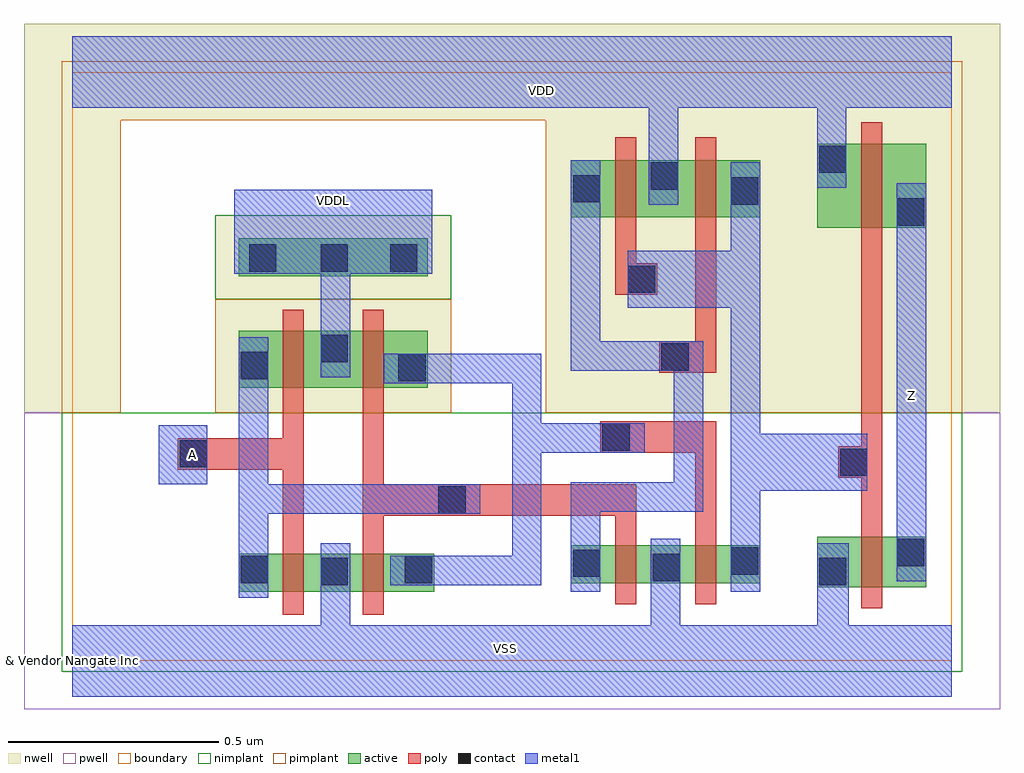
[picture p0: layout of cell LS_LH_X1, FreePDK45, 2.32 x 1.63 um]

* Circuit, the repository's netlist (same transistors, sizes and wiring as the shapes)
* 
* ******************************************************************************
* *                                                                            *
* *                   Copyright (C) 2004-2011, Nangate Inc.                    *
* *                           All rights reserved.                             *
* *                                                                            *
* * Nangate and the Nangate logo are trademarks of Nangate Inc.                *
* *                                                                            *
* * All trademarks, logos, software marks, and trade names (collectively the   *
* * "Marks") in this program are proprietary to Nangate or other respective    *
* * owners that have granted Nangate the right and license to use such Marks.  *
* * You are not permitted to use the Marks without the prior written consent   *
* * of Nangate or such third party that may own the Marks.                     *
* *                                                                            *
* * This file has been provided pursuant to a License Agreement containing     *
* * restrictions on its use. This file contains valuable trade secrets and     *
* * proprietary information of Nangate Inc., and is protected by U.S. and      *
* * international laws and/or treaties.                                        *
* *                                                                            *
* * The copyright notice(s) in this file does not indicate actual or intended  *
* * publication of this file.                                                  *
* *                                                                            *
* *     NGLibraryCreator, v2010.08-HR32-SP3-2010-08-05 - build 1009061800      *
* *                                                                            *
* ******************************************************************************
* 
* 
* Running on server08.nangate.com for user Giancarlo Franciscatto (gfr).
* Local time is now Thu, 6 Jan 2011, 19:45:48.
* Main process id is 3320.
*
********************************************************************************
*                                                                              *
* Cellname:   LS_LH_X1.                                                        *
*                                                                              *
* Technology: NCSU FreePDK 45nm.                                               *
* Format:     Cdl.                                                             *
*                                                                              *
* Written on server08.nangate.com for user Giancarlo Franciscatto (gfr)        *
* at 19:45:48 on Thu, 6 Jan 2011.                                              *
*                                                                              *
********************************************************************************
.SUBCKT LS_LH_X1 A Z VDD VDDL VSS 
*.PININFO A:I Z:O VDD:P VDDL:P VSS:G 
*.EQN Z=A
M_i_0 VSS A net_000 VSS NMOS_VTL W=0.090000U L=0.050000U
M_i_7 net_001 net_000 VSS VSS NMOS_VTL W=0.090000U L=0.050000U
M_i_13 VSS net_000 net_002 VSS NMOS_VTL W=0.090000U L=0.050000U
M_i_20 net_003 net_001 VSS VSS NMOS_VTL W=0.090000U L=0.050000U
M_i_26 Z net_003 VSS VSS NMOS_VTL W=0.120000U L=0.050000U
M_i_33 VDDL A net_000 VDDL PMOS_VTL W=0.135000U L=0.050000U
M_i_40 net_001 net_000 VDDL VDDL PMOS_VTL W=0.135000U L=0.050000U
M_i_46 VDD net_003 net_002 VDD PMOS_VTL W=0.135000U L=0.050000U
M_i_52 net_003 net_002 VDD VDD PMOS_VTL W=0.135000U L=0.050000U
M_i_58 Z net_003 VDD VDD PMOS_VTL W=0.200000U L=0.050000U
.ENDS 

********************************************************************************
*
* END
*
********************************************************************************

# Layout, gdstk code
import gdstk
lib = gdstk.Library(unit=1e-6, precision=1e-10)
def R(c, l, rs):  # rectangles x0, y0, x1, y1
    for r in rs: c.add(gdstk.rectangle(r[:2], r[2:], *l))
def P(c, l, *ps):  # polygons
    for p in ps: c.add(gdstk.Polygon(p, *l))
active = (1, 0)
pwell = (2, 0)
nwell = (3, 0)
nimplant = (4, 0)
pimplant = (5, 0)
poly = (9, 0)
contact = (10, 0)
metal1 = (11, 0)
boundary = (235, 0)

ls_lh_x1 = lib.new_cell('LS_LH_X1')
R(ls_lh_x1, active, [(0.395,0.165,0.86,0.255), (1.77,0.175,2.03,0.295), (1.185,0.185,1.635,0.275), (0.395,0.65,0.845,0.785), (0.395,0.915,0.845,1.005), (1.77,1.03,2.03,1.23), (1.185,1.055,1.635,1.19)])
R(ls_lh_x1, pwell, [(-0.115,-0.115,2.205,0.59)])
R(ls_lh_x1, nwell, [(0.34,0.59,0.9,1.06)])
P(ls_lh_x1, nwell, [(-0.115,0.59),(0.115,0.59),(0.115,1.285),(1.125,1.285),(1.125,0.59),(2.205,0.59),(2.205,1.515),(-0.115,1.515)])
R(ls_lh_x1, nimplant, [(-0.025,-0.025,2.115,0.59), (0.34,0.86,0.9,1.06)])
R(ls_lh_x1, pimplant, [(0.34,0.59,0.9,0.86)])
P(ls_lh_x1, pimplant, [(-0.025,0.59),(0.115,0.59),(0.115,1.285),(1.125,1.285),(1.125,0.59),(2.115,0.59),(2.115,1.425),(-0.025,1.425)])
P(ls_lh_x1, poly, [(1.395,0.685),(1.53,0.685),(1.53,1.245),(1.48,1.245),(1.48,0.76),(1.395,0.76)],
  [(1.82,0.435),(1.875,0.435),(1.875,0.125),(1.925,0.125),(1.925,1.28),(1.875,1.28),(1.875,0.51),(1.82,0.51)],
  [(0.25,0.455),(0.5,0.455),(0.5,0.11),(0.55,0.11),(0.55,0.835),(0.5,0.835),(0.5,0.53),(0.25,0.53)],
  [(0.69,0.11),(0.74,0.11),(0.74,0.345),(1.29,0.345),(1.29,0.135),(1.34,0.135),(1.34,0.42),(0.74,0.42),(0.74,0.835),(0.69,0.835)],
  [(1.29,0.87),(1.39,0.87),(1.39,0.945),(1.34,0.945),(1.34,1.245),(1.29,1.245)],
  [(1.255,0.495),(1.48,0.495),(1.48,0.135),(1.53,0.135),(1.53,0.57),(1.255,0.57)])
R(ls_lh_x1, contact, [(0.59,0.18,0.655,0.245), (1.775,0.18,1.84,0.245), (0.4,0.185,0.465,0.25), (0.79,0.185,0.855,0.25), (1.38,0.19,1.445,0.255), (1.19,0.2,1.255,0.265), (1.565,0.205,1.63,0.27), (1.96,0.225,2.025,0.29), (0.87,0.35,0.935,0.415), (1.825,0.44,1.89,0.505), (0.255,0.46,0.32,0.525), (1.26,0.5,1.325,0.565), (0.775,0.665,0.84,0.73), (0.4,0.67,0.465,0.735), (1.4,0.69,1.465,0.755), (0.59,0.71,0.655,0.775), (1.32,0.875,1.385,0.94), (0.42,0.925,0.485,0.99), (0.59,0.925,0.655,0.99), (0.755,0.925,0.82,0.99), (1.96,1.035,2.025,1.1), (1.565,1.085,1.63,1.15), (1.19,1.09,1.255,1.155), (1.375,1.12,1.44,1.185), (1.775,1.16,1.84,1.225)])
R(ls_lh_x1, metal1, [(1.96,0.19,2.03,1.135), (0.205,0.42,0.32,0.56)])
P(ls_lh_x1, metal1, [(0.385,0.92),(0.59,0.92),(0.59,0.675),(0.66,0.675),(0.66,0.92),(0.855,0.92),(0.855,1.12),(0.385,1.12)],
  [(0.395,0.15),(0.465,0.15),(0.465,0.35),(0.97,0.35),(0.97,0.42),(0.465,0.42),(0.465,0.77),(0.395,0.77)],
  [(0.74,0.66),(1.045,0.66),(1.045,0.25),(0.755,0.25),(0.755,0.18),(1.115,0.18),(1.115,0.495),(1.36,0.495),(1.36,0.565),(1.115,0.565),(1.115,0.73),(0.74,0.73)],
  [(1.185,0.69),(1.43,0.69),(1.43,0.425),(1.185,0.425),(1.185,0.165),(1.255,0.165),(1.255,0.355),(1.5,0.355),(1.5,0.76),(1.255,0.76),(1.255,1.19),(1.185,1.19)],
  [(1.32,0.84),(1.565,0.84),(1.565,0.165),(1.635,0.165),(1.635,0.405),(1.89,0.405),(1.89,0.54),(1.635,0.54),(1.635,1.185),(1.565,1.185),(1.565,0.975),(1.32,0.975)],
  [(0,-0.085),(2.09,-0.085),(2.09,0.085),(1.845,0.085),(1.845,0.28),(1.77,0.28),(1.77,0.085),(1.445,0.085),(1.445,0.29),(1.375,0.29),(1.375,0.085),(0.66,0.085),(0.66,0.28),(0.59,0.28),(0.59,0.085),(0,0.085)],
  [(0,1.315),(1.37,1.315),(1.37,1.085),(1.44,1.085),(1.44,1.315),(1.77,1.315),(1.77,1.125),(1.84,1.125),(1.84,1.315),(2.09,1.315),(2.09,1.485),(0,1.485)])
R(ls_lh_x1, boundary, [(0,0,2.09,1.4)])
ls_lh_x1.add(gdstk.Label('VDDL', (0.62,1.095), layer=11, texttype=0))
ls_lh_x1.add(gdstk.Label('A', (0.285,0.49), layer=11, texttype=0))
ls_lh_x1.add(gdstk.Label('VSS', (1.03,0.03), layer=11, texttype=0))
ls_lh_x1.add(gdstk.Label('VDD', (1.115,1.355), layer=11, texttype=0))
ls_lh_x1.add(gdstk.Label('Z', (1.995,0.63), layer=11, texttype=0))
ls_lh_x1.add(gdstk.Label('& Vendor Nangate Inc', (0,0), layer=63, texttype=63))
ls_lh_x1.add(gdstk.Label('& Product Open Cell Library', (0,0), layer=63, texttype=63))
ls_lh_x1.add(gdstk.Label('& Version 2010_12', (0,0), layer=63, texttype=63))
ls_lh_x1.add(gdstk.Label('& Instance LS_LH_X1', (0,0), layer=63, texttype=63))

lib.write_gds('LS_LH_X1.gds')
